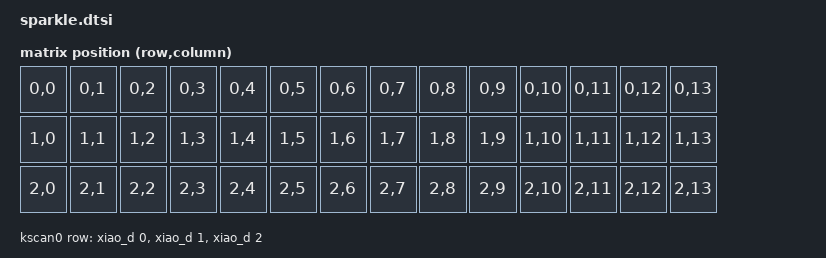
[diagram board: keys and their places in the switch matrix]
#include <dt-bindings/zmk/matrix_transform.h>  // キーマトリクス変換に使うマクロ（RC(row, col)など）を定義

/ {
    chosen {
        zmk,kscan = &kscan0;  // 使用するキースキャンデバイスを指定（下で定義）
        zmk,matrix_transform = &default_transform;  // 行列変換マップをここで指定
    };

    // デフォルトのキーマトリクス変換定義
    default_transform: keymap_transform_0 {
        compatible = "zmk,matrix-transform";  // ZMK用のマトリクス変換であることを指定
        columns = <14>;  // 列数は10
        rows = <3>;      // 行数は4

        // マップの定義（物理スイッチの配置 → 行列上の位置）
        map = <
            RC(0,0) RC(0,1) RC(0,2) RC(0,3) RC(0,4) RC(0,5) RC(0,6)    RC(0,7) RC(0,8) RC(0,9) RC(0,10) RC(0,11) RC(0,12) RC(0,13)  
            RC(1,0) RC(1,1) RC(1,2) RC(1,3) RC(1,4) RC(1,5) RC(1,6)    RC(1,7) RC(1,8) RC(1,9) RC(1,10) RC(1,11) RC(1,12) RC(1,13)  
            RC(2,0) RC(2,1) RC(2,2) RC(2,3) RC(2,4) RC(2,5) RC(2,6)    RC(2,7) RC(2,8) RC(2,9) RC(2,10) RC(2,11) RC(2,12) RC(2,13)       
        >;
    };

    // キースキャン用のGPIOマトリクス設定
    kscan0: kscan_0 {
        compatible = "zmk,kscan-gpio-matrix";  // GPIOでマトリクススキャンを行う設定
        label = "KSCAN";  // デバイスラベル（任意）

        diode-direction = "col2row";  // ダイオードの向き（列→行）

        // 各行に接続されたGPIOピン（XIAOのD0〜D3を使用）
        row-gpios = 
            <&xiao_d 0 (GPIO_ACTIVE_HIGH | GPIO_PULL_DOWN)>,
            <&xiao_d 1 (GPIO_ACTIVE_HIGH | GPIO_PULL_DOWN)>,
            <&xiao_d 2 (GPIO_ACTIVE_HIGH | GPIO_PULL_DOWN)>;
    };
};
